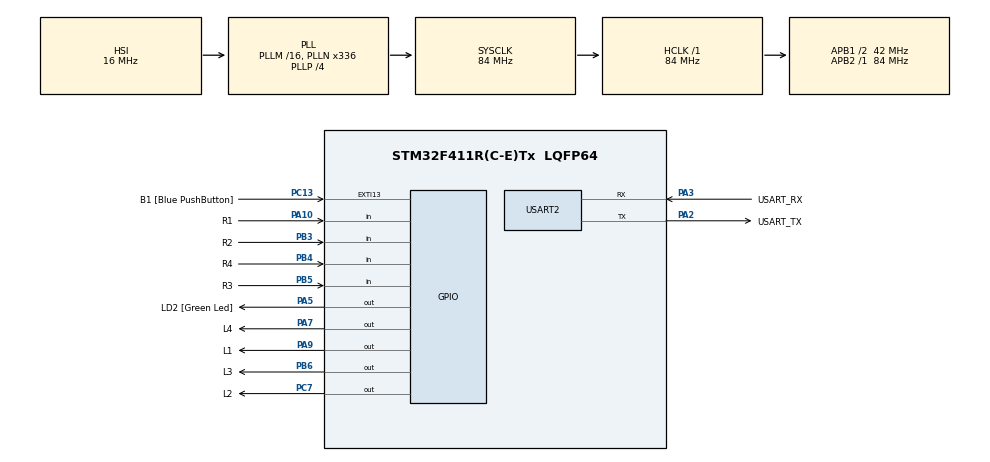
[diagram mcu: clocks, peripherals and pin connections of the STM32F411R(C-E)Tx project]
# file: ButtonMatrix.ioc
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Mcu.Family=STM32F4
Mcu.Name=STM32F411R(C-E)Tx
Mcu.Package=LQFP64
NVIC.PriorityGroup=NVIC_PRIORITYGROUP_0
PA10.GPIO_Label=R1
PA10.GPIO_Mode=GPIO_MODE_INPUT
PA10.GPIO_PuPd=GPIO_PULLUP
PA10.Signal=GPIO_Input
PA13.GPIO_Label=TMS
PA13.Mode=Serial_Wire
PA13.Signal=SYS_JTMS-SWDIO
PA14.GPIO_Label=TCK
PA14.Mode=Serial_Wire
PA14.Signal=SYS_JTCK-SWCLK
PA2.GPIO_Label=USART_TX
PA2.Mode=Asynchronous
PA2.Signal=USART2_TX
PA3.GPIO_Label=USART_RX
PA3.Mode=Asynchronous
PA3.Signal=USART2_RX
PA5.GPIO_Label=LD2 [Green Led]
PA5.Signal=GPIO_Output
PA7.GPIO_Label=L4
PA7.GPIO_ModeDefaultOutputPP=GPIO_MODE_OUTPUT_OD
PA7.GPIO_PuPd=GPIO_NOPULL
PA7.Signal=GPIO_Output
PA9.GPIO_Label=L1
PA9.GPIO_ModeDefaultOutputPP=GPIO_MODE_OUTPUT_OD
PA9.GPIO_PuPd=GPIO_NOPULL
PA9.Signal=GPIO_Output
PB3.GPIO_Label=R2
PB3.GPIO_Mode=GPIO_MODE_INPUT
PB3.GPIO_PuPd=GPIO_PULLUP
PB3.Signal=GPIO_Input
PB4.GPIO_Label=R4
PB4.GPIO_Mode=GPIO_MODE_INPUT
PB4.GPIO_PuPd=GPIO_PULLUP
PB4.Signal=GPIO_Input
PB5.GPIO_Label=R3
PB5.GPIO_Mode=GPIO_MODE_INPUT
PB5.GPIO_PuPd=GPIO_PULLUP
PB5.Signal=GPIO_Input
PB6.GPIO_Label=L3
PB6.GPIO_ModeDefaultOutputPP=GPIO_MODE_OUTPUT_OD
PB6.GPIO_PuPd=GPIO_NOPULL
PB6.Signal=GPIO_Output
PC13-ANTI_TAMP.GPIO_Label=B1 [Blue PushButton]
PC13-ANTI_TAMP.GPIO_ModeDefaultEXTI=GPIO_MODE_IT_FALLING
PC13-ANTI_TAMP.Signal=GPXTI13
PC14-OSC32_IN.Mode=LSE-External-Oscillator
PC14-OSC32_IN.Signal=RCC_OSC32_IN
PC15-OSC32_OUT.Mode=LSE-External-Oscillator
PC15-OSC32_OUT.Signal=RCC_OSC32_OUT
PC7.GPIO_Label=L2
PC7.GPIO_ModeDefaultOutputPP=GPIO_MODE_OUTPUT_OD
PC7.GPIO_PuPd=GPIO_NOPULL
PC7.Signal=GPIO_Output
PH0\ -\ OSC_IN.Mode=HSE-External-Clock-Source
PH0\ -\ OSC_IN.Signal=RCC_OSC_IN
PH1\ -\ OSC_OUT.Mode=HSE-External-Clock-Source
PH1\ -\ OSC_OUT.Signal=RCC_OSC_OUT
ProjectManager.HeapSize=0x200
ProjectManager.StackSize=0x400
ProjectManager.TargetToolchain=STM32CubeIDE
RCC.48MHZClocksFreq_Value=84000000
RCC.AHBFreq_Value=84000000
RCC.APB1CLKDivider=RCC_HCLK_DIV2
RCC.APB1Freq_Value=42000000
RCC.APB1TimFreq_Value=84000000
RCC.APB2Freq_Value=84000000
RCC.APB2TimFreq_Value=84000000
RCC.CortexFreq_Value=84000000
RCC.FLatency-AdvancedSettings=FLASH_LATENCY_2
RCC.HCLKFreq_Value=84000000
RCC.HSE_VALUE=8000000
RCC.HSI_VALUE=16000000
RCC.PLLN=336
RCC.PLLP=RCC_PLLP_DIV4
RCC.SYSCLKFreq_VALUE=84000000
RCC.SYSCLKSource=RCC_SYSCLKSOURCE_PLLCLK
RCC.VCOOutputFreq_Value=336000000
USART2.VirtualMode=VM_ASYNC
board=NUCLEO-F411RE

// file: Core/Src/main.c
/* USER CODE BEGIN Header */
/**
  ******************************************************************************
  * @file           : main.c
  * @brief          : Main program body
  ******************************************************************************
  * @attention
  *
  * Copyright (c) 2022 STMicroelectronics.
  * All rights reserved.
  *
  * This software is licensed under terms that can be found in the LICENSE file
  * in the root directory of this software component.
  * If no LICENSE file comes with this software, it is provided AS-IS.
  *
  ******************************************************************************
  */
/* USER CODE END Header */
#include "main.h"

UART_HandleTypeDef huart2;

/* USER CODE BEGIN PV */
uint16_t Buttonstate =0; 	//store 4x4 button state
/* USER CODE END PV */

void SystemClock_Config(void);
static void MX_GPIO_Init(void);
static void MX_USART2_UART_Init(void);
/* USER CODE BEGIN PFP */
void ButtonMatrixRead();
/* USER CODE END PFP */

int main(void)
{

  /* MCU Configuration--------------------------------------------------------*/

  /* Reset of all peripherals, Initializes the Flash interface and the Systick. */
  HAL_Init();

  /* Configure the system clock */
  SystemClock_Config();

  /* Initialize all configured peripherals */
  MX_GPIO_Init();
  MX_USART2_UART_Init();

  /* Infinite loop */
  while (1)
  {

    /* USER CODE BEGIN 3 */
	  //function that read Button
	  ButtonMatrixRead();
  }
  /* USER CODE END 3 */
}

void SystemClock_Config(void)
{
  RCC_OscInitTypeDef RCC_OscInitStruct = {0};
  RCC_ClkInitTypeDef RCC_ClkInitStruct = {0};

  /** Configure the main internal regulator output voltage
  */
  __HAL_RCC_PWR_CLK_ENABLE();
  __HAL_PWR_VOLTAGESCALING_CONFIG(PWR_REGULATOR_VOLTAGE_SCALE1);
  /** Initializes the RCC Oscillators according to the specified parameters
  * in the RCC_OscInitTypeDef structure.
  */
  RCC_OscInitStruct.OscillatorType = RCC_OSCILLATORTYPE_HSI;
  RCC_OscInitStruct.HSIState = RCC_HSI_ON;
  RCC_OscInitStruct.HSICalibrationValue = RCC_HSICALIBRATION_DEFAULT;
  RCC_OscInitStruct.PLL.PLLState = RCC_PLL_ON;
  RCC_OscInitStruct.PLL.PLLSource = RCC_PLLSOURCE_HSI;
  RCC_OscInitStruct.PLL.PLLM = 16;
  RCC_OscInitStruct.PLL.PLLN = 336;
  RCC_OscInitStruct.PLL.PLLP = RCC_PLLP_DIV4;
  RCC_OscInitStruct.PLL.PLLQ = 4;
  if (HAL_RCC_OscConfig(&RCC_OscInitStruct) != HAL_OK)
  {
    Error_Handler();
  }
  /** Initializes the CPU, AHB and APB buses clocks
  */
  RCC_ClkInitStruct.ClockType = RCC_CLOCKTYPE_HCLK|RCC_CLOCKTYPE_SYSCLK
                              |RCC_CLOCKTYPE_PCLK1|RCC_CLOCKTYPE_PCLK2;
  RCC_ClkInitStruct.SYSCLKSource = RCC_SYSCLKSOURCE_PLLCLK;
  RCC_ClkInitStruct.AHBCLKDivider = RCC_SYSCLK_DIV1;
  RCC_ClkInitStruct.APB1CLKDivider = RCC_HCLK_DIV2;
  RCC_ClkInitStruct.APB2CLKDivider = RCC_HCLK_DIV1;

  if (HAL_RCC_ClockConfig(&RCC_ClkInitStruct, FLASH_LATENCY_2) != HAL_OK)
  {
    Error_Handler();
  }
}

static void MX_USART2_UART_Init(void)
{

  huart2.Instance = USART2;
  huart2.Init.BaudRate = 115200;
  huart2.Init.WordLength = UART_WORDLENGTH_8B;
  huart2.Init.StopBits = UART_STOPBITS_1;
  huart2.Init.Parity = UART_PARITY_NONE;
  huart2.Init.Mode = UART_MODE_TX_RX;
  huart2.Init.HwFlowCtl = UART_HWCONTROL_NONE;
  huart2.Init.OverSampling = UART_OVERSAMPLING_16;
  if (HAL_UART_Init(&huart2) != HAL_OK)
  {
    Error_Handler();
  }

}

static void MX_GPIO_Init(void)
{
  GPIO_InitTypeDef GPIO_InitStruct = {0};

  /* GPIO Ports Clock Enable */
  __HAL_RCC_GPIOC_CLK_ENABLE();
  __HAL_RCC_GPIOH_CLK_ENABLE();
  __HAL_RCC_GPIOA_CLK_ENABLE();
  __HAL_RCC_GPIOB_CLK_ENABLE();

  /*Configure GPIO pin Output Level */
  HAL_GPIO_WritePin(GPIOA, LD2_Pin|L4_Pin|L1_Pin, GPIO_PIN_RESET);

  /*Configure GPIO pin Output Level */
  HAL_GPIO_WritePin(L2_GPIO_Port, L2_Pin, GPIO_PIN_RESET);

  /*Configure GPIO pin Output Level */
  HAL_GPIO_WritePin(L3_GPIO_Port, L3_Pin, GPIO_PIN_RESET);

  /*Configure GPIO pin : B1_Pin */
  GPIO_InitStruct.Pin = B1_Pin;
  GPIO_InitStruct.Mode = GPIO_MODE_IT_FALLING;
  GPIO_InitStruct.Pull = GPIO_NOPULL;
  HAL_GPIO_Init(B1_GPIO_Port, &GPIO_InitStruct);

  /*Configure GPIO pin : LD2_Pin */
  GPIO_InitStruct.Pin = LD2_Pin;
  GPIO_InitStruct.Mode = GPIO_MODE_OUTPUT_PP;
  GPIO_InitStruct.Pull = GPIO_NOPULL;
  GPIO_InitStruct.Speed = GPIO_SPEED_FREQ_LOW;
  HAL_GPIO_Init(LD2_GPIO_Port, &GPIO_InitStruct);

  /*Configure GPIO pins : L4_Pin L1_Pin */
  GPIO_InitStruct.Pin = L4_Pin|L1_Pin;
  GPIO_InitStruct.Mode = GPIO_MODE_OUTPUT_OD;
  GPIO_InitStruct.Pull = GPIO_NOPULL;
  GPIO_InitStruct.Speed = GPIO_SPEED_FREQ_LOW;
  HAL_GPIO_Init(GPIOA, &GPIO_InitStruct);

  /*Configure GPIO pin : L2_Pin */
  GPIO_InitStruct.Pin = L2_Pin;
  GPIO_InitStruct.Mode = GPIO_MODE_OUTPUT_OD;
  GPIO_InitStruct.Pull = GPIO_NOPULL;
  GPIO_InitStruct.Speed = GPIO_SPEED_FREQ_LOW;
  HAL_GPIO_Init(L2_GPIO_Port, &GPIO_InitStruct);

  /*Configure GPIO pin : R1_Pin */
  GPIO_InitStruct.Pin = R1_Pin;
  GPIO_InitStruct.Mode = GPIO_MODE_INPUT;
  GPIO_InitStruct.Pull = GPIO_PULLUP;
  HAL_GPIO_Init(R1_GPIO_Port, &GPIO_InitStruct);

  /*Configure GPIO pins : R2_Pin R4_Pin R3_Pin */
  GPIO_InitStruct.Pin = R2_Pin|R4_Pin|R3_Pin;
  GPIO_InitStruct.Mode = GPIO_MODE_INPUT;
  GPIO_InitStruct.Pull = GPIO_PULLUP;
  HAL_GPIO_Init(GPIOB, &GPIO_InitStruct);

  /*Configure GPIO pin : L3_Pin */
  GPIO_InitStruct.Pin = L3_Pin;
  GPIO_InitStruct.Mode = GPIO_MODE_OUTPUT_OD;
  GPIO_InitStruct.Pull = GPIO_NOPULL;
  GPIO_InitStruct.Speed = GPIO_SPEED_FREQ_LOW;
  HAL_GPIO_Init(L3_GPIO_Port, &GPIO_InitStruct);

}

/* USER CODE BEGIN 4 */
//Read button state form 4x4 button

GPIO_TypeDef* ButtonMatrixPortR[4] = {R1_GPIO_Port,R2_GPIO_Port,R3_GPIO_Port,R4_GPIO_Port};
uint16_t ButtonMatrixPinR[4] = {R1_Pin,R2_Pin,R3_Pin,R4_Pin};

GPIO_TypeDef* ButtonMatrixPortL[4] = {L1_GPIO_Port,L2_GPIO_Port,L3_GPIO_Port,L4_GPIO_Port};
uint16_t ButtonMatrixPinL[4] = {L1_Pin,L2_Pin,L3_Pin,L4_Pin};

void ButtonMatrixRead()
{
	static uint32_t timeStamp=0;
	static uint8_t CurrentL=0;
	//call reader every 100 ms
	if(HAL_GetTick() - timeStamp >= 100)
	{
		timeStamp = HAL_GetTick();

		for(int i=0 ;i<4;i++)
		{
			if(HAL_GPIO_ReadPin(ButtonMatrixPortR[i], ButtonMatrixPinR[i])==GPIO_PIN_RESET) // Button press
			{
				//set bit i to 1
				//i calculate form i(R) and CurrentL to set bit that relate to 4x4 button
				Buttonstate |= 1 << (i + (CurrentL*4));
			}
			else
			{
				//set bit i to 0
				Buttonstate &= ~(1<< (i + (CurrentL*4)));
			}
		}
		//set currentL to Hi-z (Open drain)
		HAL_GPIO_WritePin(ButtonMatrixPortL[CurrentL], ButtonMatrixPinL[CurrentL], GPIO_PIN_SET);
		uint8_t nextL = (CurrentL + 1) % 4;
		//set NextL	to Low
		HAL_GPIO_WritePin(ButtonMatrixPortL[nextL], ButtonMatrixPinL[nextL], GPIO_PIN_RESET);
		CurrentL = nextL;

	}

}

/* USER CODE END 4 */

void Error_Handler(void)
{
  __disable_irq();
  while (1)
  {
  }
}
